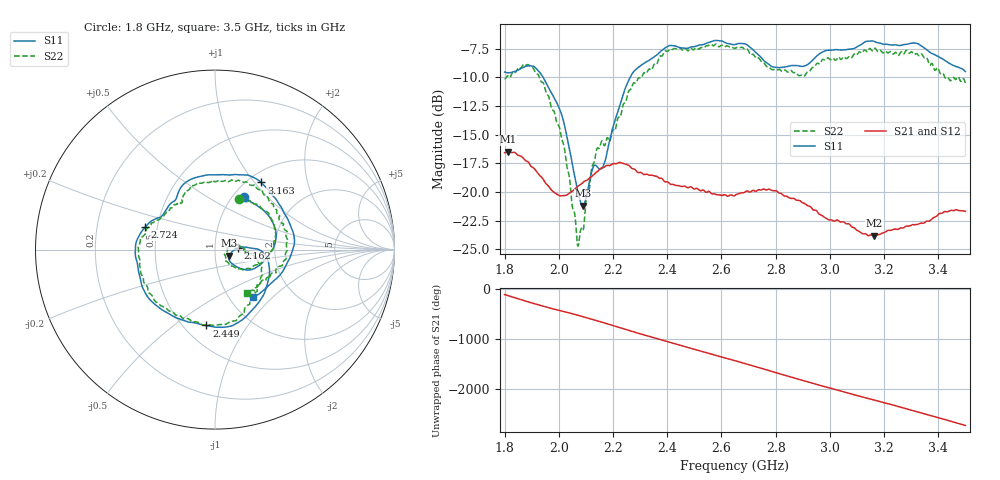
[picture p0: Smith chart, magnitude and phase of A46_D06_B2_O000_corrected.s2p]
! Created with skrf 1.9.0 (http://scikit-rf.org).
# Hz S RI R 50.0
!freq ReS11 ImS11 ReS21 ImS21 ReS12 ImS12 ReS22 ImS22
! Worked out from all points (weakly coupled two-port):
!   1601 points, 1.8 GHz to 3.5 GHz, reference 50 ohm
!   highest |S21| = -16.49 dB at 1.812 GHz (marker M1); lowest = -23.8 dB at 3.164 GHz (marker M2)
!   lowest |S11| = -21.2 dB at 2.089 GHz (marker M3), VSWR 1.19, Z = 58.6 - j3.94 ohm
!   |S11| at or under -10 dB: 1.942 GHz to 2.263 GHz (320.7 MHz wide, 15.3 % of centre)
!   |S22| runs from -24.7 to -7.1 dB; largest |S21 - S12| = 0.0024
!   S11 on the Smith chart (normalised r, x): 1.8 GHz: 1.12, +0.74; 2.162 GHz: 1.29, +0.02; 2.449 GHz: 0.64, -0.66; 2.724 GHz: 0.43, +0.13; 3.163 GHz: 1.15, +1.08; 3.5 GHz: 1.28, -0.75
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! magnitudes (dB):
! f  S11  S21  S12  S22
! 1.8 GHz  -9.5  -16.6  -16.6  -10.2
! 1.812 GHz  -9.6  -16.5  -16.5  -9.9
! 1.881 GHz  -9.0  -17.3  -17.3  -8.9
! 1.942 GHz  -10.0  -18.9  -18.9  -10.5
! 2.011 GHz  -13.3  -20.3  -20.3  -15.4
! 2.068 GHz  -19.7  -19.5  -19.6  -24.4
! 2.084 GHz  -21.1  -19.3  -19.3  -23.2
! 2.089 GHz  -21.2  -19.2  -19.2  -23.4
! 2.127 GHz  -17.8  -18.5  -18.5  -17.6
! 2.162 GHz  -17.8  -17.9  -17.8  -15.7
! 2.26 GHz  -10.1  -17.7  -17.7  -11.1
! 2.367 GHz  -7.9  -18.7  -18.7  -8.5
! 2.449 GHz  -7.4  -19.5  -19.5  -7.4
! 2.65 GHz  -7.1  -20.3  -20.3  -7.5
! 2.724 GHz  -7.8  -19.9  -19.9  -8.2
! 2.798 GHz  -9.1  -19.9  -19.9  -9.3
! 2.934 GHz  -8.6  -21.4  -21.4  -9.2
! 3.163 GHz  -6.9  -23.8  -23.8  -7.5
! 3.164 GHz  -6.9  -23.8  -23.8  -7.5
! 3.217 GHz  -7.1  -23.4  -23.3  -7.8
! 3.323 GHz  -7.0  -22.8  -22.8  -8.0
! 3.5 GHz  -9.5  -21.7  -21.7  -10.5
